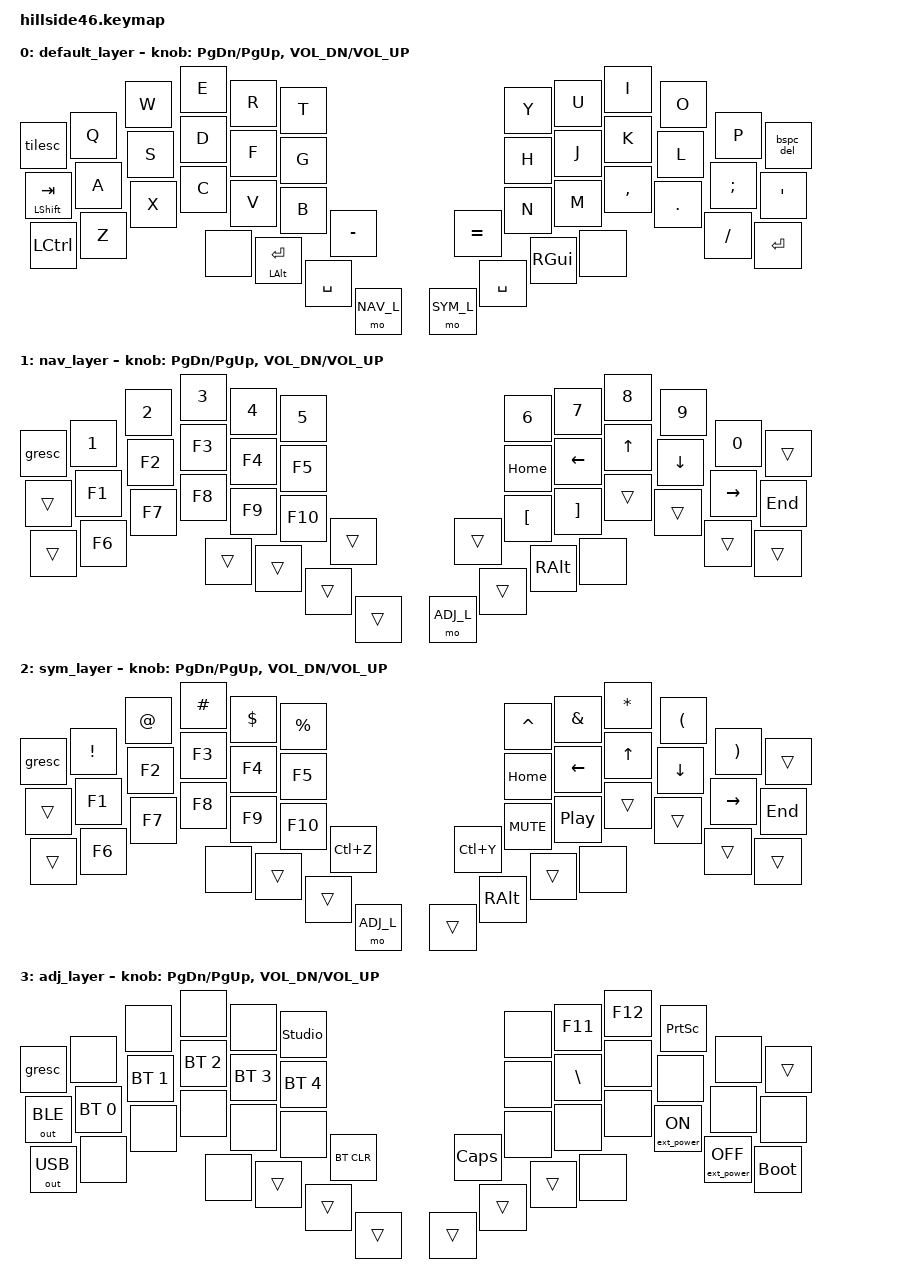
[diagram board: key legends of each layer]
/*
 * Copyright (c) 2021-2022 The ZMK Contributors
 *
 * SPDX-License-Identifier: MIT
 */

#include <behaviors.dtsi>
#include <dt-bindings/zmk/bt.h>
#include <dt-bindings/zmk/ext_power.h>
#include <dt-bindings/zmk/keys.h>
#include <dt-bindings/zmk/outputs.h>

#define QWERTY_L 0
#define NAV_L    1
#define SYM_L    2
#define ADJ_L    3

#define Undo   LC(Z)
#define Cut    LC(X)
#define Copy   LC(C)
#define Paste  LC(V)
#define Redo   LC(Y)

/*Custom Mod Morph*/

/ {
    behaviors {
        tilesc: tilde_escape {
            compatible = "zmk,behavior-mod-morph";
            #binding-cells = <0>;
            bindings = <&kp ESC>, <&kp GRAVE>;
            mods = <(MOD_LGUI|MOD_LSFT|MOD_RGUI|MOD_RSFT)>;
            keep-mods = <(MOD_LSFT|MOD_RSFT)>;
        };
    };
};


/ {
    behaviors {
        bspc_del: backspace_delete {
            compatible = "zmk,behavior-mod-morph";
            #binding-cells = <0>;
            bindings = <&kp BACKSPACE>, <&kp DELETE>;
            mods = <(MOD_LSFT|MOD_RSFT)>;
        };
    };
};







/ {
        keymap {
                compatible = "zmk,keymap";

                default_layer {
/* QWERTY
 * -------------------------------------------------------------------------------------------------------------------------------------
 * | `ESC~ |   Q   |   W   |   E   |   R   |   T   |-----------------------------------|   Y   |   U   |   I   |   O   |   P   | BKDEL |
 * | TAB   |   A   |   S   |   D   |   F   |   G   |-----------------------------------|   H   |   J   |   K   |   L   |   ;   |   '   |
 * | CTRL  |   Z   |   X   |   C   |   V   |   B   | MINUS |-------------------| EQUAL |   N   |   M   |   ,   |   .   |   /   | ENTER |
 *                                 |       |ALT ENT| SPACE |  Nav  |---|  Sym  | SHIFT |  GUI  |       |
 */
                        bindings = <
&tilesc        &kp Q  &kp W  &kp E  &kp R  &kp T                                                                 &kp Y     &kp U  &kp I       &kp O    &kp P       &bspc_del
&mt LSHIFT TAB &kp A  &kp S  &kp D  &kp F  &kp G                                                                 &kp H     &kp J  &kp K       &kp L    &kp SEMI    &kp SQT  
&kp LCTRL      &kp Z  &kp X  &kp C  &kp V  &kp B           &kp MINUS                                  &kp EQUAL  &kp N     &kp M  &kp COMMA   &kp DOT  &kp SLASH   &kp ENTER
                                    &none  &mt LALT ENTER  &kp SPACE  &mo NAV_L            &mo SYM_L  &kp SPACE  &kp RGUI  &none
                        >;
			
                        sensor-bindings = <&inc_dec_kp PG_DN PG_UP &inc_dec_kp C_VOL_DN C_VOL_UP>;
                };
		
		
                nav_layer {
/* NAV   
 * -------------------------------------------------------------------------------------------------------------------------------------
 * |       |   1   |   2   |   3   |   4   |   5   |-----------------------------------|   6   |   7   |   8   |   9   |   0   |       |
 * |       |  F1   |  F2   |  F3   |  F4   |  F5   |-----------------------------------| HOME  | LEFT  |  UP   | DOWN  | RIGHT | END   |
 * |       |  F6   |  F7   |  F8   |  F9   |  F10  |       |-------------------|       |  {[   |  ]}   |       |       |       |       |
 *                                 |       |       |       |       |---| ADJ_L |       |  ALT  |       |
 */
                        bindings = <
&gresc   &kp N1    &kp N2    &kp N3    &kp N4    &kp N5                                                               &kp N6     &kp N7     &kp N8   &kp N9     &kp N0      &trans
&trans   &kp F1    &kp F2    &kp F3    &kp F4    &kp F5                                                               &kp HOME   &kp LEFT   &kp UP   &kp DOWN   &kp RIGHT   &kp END
&trans   &kp F6    &kp F7    &kp F8    &kp F9    &kp F10    &trans                                        &trans      &kp LBKT   &kp RBKT   &trans   &trans     &trans      &trans
                                       &trans    &trans     &trans      &trans              &mo ADJ_L     &trans      &kp RALT   &none 
                        >;
			
                        sensor-bindings = <&inc_dec_kp PG_DN PG_UP &inc_dec_kp C_VOL_DN C_VOL_UP>;
                };

                sym_layer {
/* SYM
 * -------------------------------------------------------------------------------------------------------------------------------------
 * |       |   !   |   @   |   #   |   $   |   %   |-----------------------------------|   ^   |   &   |   *   |   (   |   )   |       |
 * |       |  F1   |  F2   |  F3   |  F4   |  F5   |-----------------------------------| HOME  | LEFT  |  UP   | DOWN  | RIGHT | END   |
 * |       |  F6   |  F7   |  F8   |  F9   |  F10  | UnDo  |-------------------| ReDo  | MUTE  | PAUSE |       |       |       |       |
 *                                 |       |       |       | ADJ_L  |---|      |       |  ALT  |       |
 */
                        bindings = <
&gresc  &kp EXCL  &kp AT   &kp HASH  &kp DOLLAR  &kp PERCENT                                                 &kp CARET   &kp AMPS   &kp ASTRK  &kp LPAR   &kp RPAR    &trans
&trans  &kp F1    &kp F2   &kp F3    &kp F4      &kp F5                                                      &kp HOME    &kp LEFT   &kp UP     &kp DOWN   &kp RIGHT   &kp END
&trans  &kp F6    &kp F7   &kp F8    &kp F9      &kp F10     &kp Undo                             &kp  Redo  &kp C_MUTE  &kp C_PP   &trans     &trans     &trans      &trans
                                     &none       &trans      &trans    &mo ADJ_L          &trans  &kp RALT   &trans      &none
                        >;
			
                        sensor-bindings = <&inc_dec_kp PG_DN PG_UP &inc_dec_kp C_VOL_DN C_VOL_UP>;
                };
		
                adj_layer {
/* ADJUST
 * -------------------------------------------------------------------------------------------------------------------------------------
 * |       |       |       |       |       |STD_UNL|-----------------------------------|       |  F11  |  F12  |Prt Scr|       |       |
 * |OUT_BLE| BT 0  | BT 1  | BT 2  | BT 3  | BT 4  |-----------------------------------|       |  \|   |       |       |       |       |
 * |OUT_USB|       |       |       |       |       | BT CLR|-------------------| CAPS  |       |       |       | EP_OFF| EP_ON | BOOTL |
 *                                 |       |       |       |       |---|       |       |       |       |
 */
                        bindings = <
&gresc        &none        &none        &none        &none        &studio_unlock                                                                     &none   &kp F11   &kp F12   &kp PRINTSCREEN   &none              &trans
&out OUT_BLE  &bt BT_SEL 0 &bt BT_SEL 1 &bt BT_SEL 2 &bt BT_SEL 3 &bt BT_SEL 4                                                                       &none   &kp BSLH  &none     &none             &none              &none
&out OUT_USB  &none        &none        &none        &none        &none          &bt BT_CLR                                         &kp CAPS         &none   &none     &none     &ext_power EP_ON  &ext_power EP_OFF  &bootloader
                                                     &none        &trans         &trans        &trans                 &trans        &trans           &trans  &none 
                        >;
			
                        sensor-bindings = <&inc_dec_kp PG_DN PG_UP &inc_dec_kp C_VOL_DN C_VOL_UP>;
                };
        };
};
